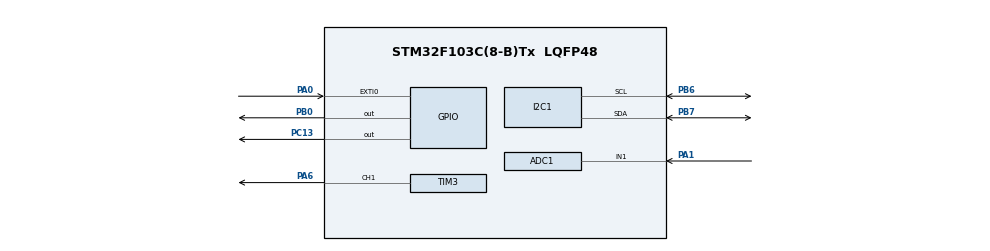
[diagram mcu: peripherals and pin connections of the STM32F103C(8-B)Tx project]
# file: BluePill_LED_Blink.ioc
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ADC1.Channel-0\#ChannelRegularConversion=ADC_CHANNEL_1
ADC1.NbrOfConversionFlag=1
ADC1.Rank-0\#ChannelRegularConversion=1
ADC1.SamplingTime-0\#ChannelRegularConversion=ADC_SAMPLETIME_55CYCLES_5
ADC1.master=1
Mcu.Family=STM32F1
Mcu.Name=STM32F103C(8-B)Tx
Mcu.Package=LQFP48
NVIC.EXTI0_IRQn=true\:0\:0\:false\:false\:true\:true\:true\:true
NVIC.PriorityGroup=NVIC_PRIORITYGROUP_4
PA0-WKUP.GPIO_PuPd=GPIO_PULLDOWN
PA0-WKUP.Signal=GPXTI0
PA1.Signal=ADCx_IN1
PA13.Mode=Serial_Wire
PA13.Signal=SYS_JTMS-SWDIO
PA14.Mode=Serial_Wire
PA14.Signal=SYS_JTCK-SWCLK
PA6.Signal=S_TIM3_CH1
PB0.Signal=GPIO_Output
PB6.Mode=I2C
PB6.Signal=I2C1_SCL
PB7.Mode=I2C
PB7.Signal=I2C1_SDA
PC13-TAMPER-RTC.PinState=GPIO_PIN_SET
PC13-TAMPER-RTC.Signal=GPIO_Output
ProjectManager.HeapSize=0x200
ProjectManager.StackSize=0x400
ProjectManager.TargetToolchain=STM32CubeIDE
RCC.APB1Freq_Value=8000000
RCC.APB2Freq_Value=8000000
SH.ADCx_IN1.0=ADC1_IN1,IN1
SH.S_TIM3_CH1.0=TIM3_CH1,PWM Generation1 CH1
TIM3.Channel-PWM\ Generation1\ CH1=TIM_CHANNEL_1
TIM3.Period=999
TIM3.Prescaler=7
board=custom

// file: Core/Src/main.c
/* USER CODE BEGIN Header */
/**
  ******************************************************************************
  * @file           : main.c
  * @brief          : Main program body
  ******************************************************************************
  * @attention
  *
  * Copyright (c) 2026 STMicroelectronics.
  * All rights reserved.
  *
  * This software is licensed under terms that can be found in the LICENSE file
  * in the root directory of this software component.
  * If no LICENSE file comes with this software, it is provided AS-IS.
  *
  ******************************************************************************
  */
/* USER CODE END Header */
#include "main.h"
#include <stdio.h>

#define OLED_ADDR (0x3C << 1)
#define OLED_CONTROL_CMD 0x00

ADC_HandleTypeDef hadc1;

I2C_HandleTypeDef hi2c1;

TIM_HandleTypeDef htim3;

/* USER CODE BEGIN PV */

uint16_t dig_T1 = 0;
int16_t dig_T2 = 0;
int16_t dig_T3 = 0;

/* USER CODE END PV */

void SystemClock_Config(void);
static void MX_GPIO_Init(void);
static void MX_ADC1_Init(void);
static void MX_TIM3_Init(void);
static void MX_I2C1_Init(void);

/* USER CODE BEGIN PFP */

void OLED_SendCommand(uint8_t command);
void OLED_SendData(uint8_t dataByte);
void OLED_Init(void);
void OLED_Clear(void);
void OLED_DrawChar(const uint8_t *character);
void OLED_DrawCharacter(char character);
void OLED_DrawText(const char *text);
void BMP280_Init(void);

int32_t BMP280_ReadTemperature(void);

uint8_t letter_H[5] =
{
    0xFF,
    0x08,
    0x08,
    0x08,
    0xFF
};

uint8_t letter_E[5] =
{
    0xFF,
    0x89,
    0x89,
    0x89,
    0x89
};

uint8_t letter_L[5] =
{
    0xFF,
    0x80,
	  0x80,
	  0x80,
	  0x80
};
uint8_t letter_O[5] =
{
    0x7E,
    0x81,
	  0x81,
	  0x81,
	  0x7E
};
uint8_t letter_[5] =
{
    0x00,
    0x00,
	  0x00,
	  0x00,
	  0x00
};
uint8_t letter_W[5] =
{
    0xFF,
    0x60,
	  0x10,
	  0x60,
	  0xFF
};
uint8_t letter_R[5] =
{
    0xFF,
    0x09,
	  0x09,
	  0x19,
	  0xE6
};
uint8_t letter_D[5] =
{
    0xFF,
    0x81,
	  0x81,
	  0x42,
	  0x3C
};
uint8_t letter_I[5] =
{
    0x00, 0x41, 0x7F, 0x41, 0x00
};

uint8_t letter_V[5] =
{
    0x1F, 0x20, 0x40, 0x20, 0x1F
};

uint8_t letter_T[5] =
{
    0x01, 0x01, 0x7F, 0x01, 0x01
};

uint8_t letter_M[5] =
{
    0x7F, 0x02, 0x0C, 0x02, 0x7F
};

uint8_t letter_P[5] =
{
    0x7F, 0x09, 0x09, 0x09, 0x06
};

uint8_t letter_A[5] =
{
    0x7E, 0x11, 0x11, 0x11, 0x7E
};

uint8_t letter_U[5] =
{
    0x3F, 0x40, 0x40, 0x40, 0x3F
};

const uint8_t font_numbers[10][5] =
{
    {0x3E, 0x51, 0x49, 0x45, 0x3E}, // 0
    {0x00, 0x42, 0x7F, 0x40, 0x00}, // 1
    {0x42, 0x61, 0x51, 0x49, 0x46}, // 2
    {0x21, 0x41, 0x45, 0x4B, 0x31}, // 3
    {0x18, 0x14, 0x12, 0x7F, 0x10}, // 4
    {0x27, 0x45, 0x45, 0x45, 0x39}, // 5
    {0x3C, 0x4A, 0x49, 0x49, 0x30}, // 6
    {0x01, 0x71, 0x09, 0x05, 0x03}, // 7
    {0x36, 0x49, 0x49, 0x49, 0x36}, // 8
    {0x06, 0x49, 0x49, 0x29, 0x1E}  // 9
};

const uint8_t char_dot[5] =
{
    0x00, 0x60, 0x60, 0x00, 0x00
};

const uint8_t char_minus[5] =
{
    0x08, 0x08, 0x08, 0x08, 0x08
};

const uint8_t char_C[5] =
{
    0x3E, 0x41, 0x41, 0x41, 0x22
};

const uint8_t char_space[5] =
{
    0x00, 0x00, 0x00, 0x00, 0x00
};

/* USER CODE END PFP */

int main(void)
{

  /* USER CODE BEGIN 1 */

//	uint8_t calib_data[6];

	int32_t temperature = 0;
	char temp_text[16];

  /* USER CODE END 1 */

  /* MCU Configuration--------------------------------------------------------*/

  /* Reset of all peripherals, Initializes the Flash interface and the Systick. */
  HAL_Init();

  /* Configure the system clock */
  SystemClock_Config();

  /* Initialize all configured peripherals */
  MX_GPIO_Init();
  MX_ADC1_Init();
  MX_TIM3_Init();
  MX_I2C1_Init();

  /* USER CODE BEGIN 2 */

  /* Page 0 */

  OLED_Init();

  OLED_Clear();

  BMP280_Init();

  OLED_SendCommand(0xB0);
  OLED_SendCommand(0x00);
  OLED_SendCommand(0x10);

  OLED_DrawText("LIVE TEMPERATURE.");

  /* USER CODE END 2 */

  /* Infinite loop */

	  while (1) {

			 		 temperature = BMP280_ReadTemperature();

			 		  snprintf(temp_text,
			 		           sizeof(temp_text),
			 		           "%ld.%02ld C",
			 		           (long)(temperature / 100),
			 		           (long)(temperature % 100));

			 		  OLED_SendCommand(0xB2);
			 		  OLED_SendCommand(0x00);
			 		  OLED_SendCommand(0x10);

			 		  OLED_DrawText(temp_text);

		  HAL_Delay(500);

	  }
}

void OLED_SendCommand(uint8_t command)
{
    uint8_t data[2];

    data[0] = OLED_CONTROL_CMD;
    data[1] = command;

    HAL_I2C_Master_Transmit(&hi2c1, OLED_ADDR, data, 2, HAL_MAX_DELAY);
}

void OLED_SendData(uint8_t dataByte)
{
    uint8_t data[2];

    data[0] = 0x40;
    data[1] = dataByte;

    HAL_I2C_Master_Transmit(&hi2c1, OLED_ADDR, data, 2, HAL_MAX_DELAY);
}

void OLED_Clear(void)
{
    for (uint8_t page = 0; page < 8; page++)
    {
        OLED_SendCommand(0xB0 + page);
        OLED_SendCommand(0x00);
        OLED_SendCommand(0x10);

        for (uint8_t column = 0; column < 128; column++)
        {
            OLED_SendData(0x00);
        }
    }
}

void OLED_DrawChar(const uint8_t *character)
{
    for (uint8_t column = 0; column < 5; column++)
    {
        OLED_SendData(character[column]);
    }

    OLED_SendData(0x00);
}

void OLED_DrawCharacter(char character)
{
    if (character == 'H')
    {
        OLED_DrawChar(letter_H);
    }

    if (character == 'E')
    {
        OLED_DrawChar(letter_E);
    }
    if (character == 'L')
	{
		OLED_DrawChar(letter_L);
	}
    if (character == 'O')
	{
		OLED_DrawChar(letter_O);
	}
    if (character == 'W')
	{
		OLED_DrawChar(letter_W);
	}
    if (character == 'R')
	{
		OLED_DrawChar(letter_R);
	}
    if (character == 'D')
	{
		OLED_DrawChar(letter_D);
	}
    if (character == 'C')
    	{
    		OLED_DrawChar(char_C);
    	}
    if (character == ' ')
    	{
    		OLED_DrawChar(letter_);
    	}
    if(character == '.'){
        	 OLED_DrawChar(char_dot);
        }
    if(character == '-'){
            	 OLED_DrawChar(char_minus);
            }
    if(character == '1'){
    	 OLED_DrawChar(font_numbers[1]);
    }
    if(character == '2'){
        	 OLED_DrawChar(font_numbers[2]);
        }
    if(character == '3'){
        	 OLED_DrawChar(font_numbers[3]);
        }
	if(character == '4'){
			 OLED_DrawChar(font_numbers[4]);
		}
	if(character == '5'){
	    	 OLED_DrawChar(font_numbers[5]);
	    }
	if(character == '6'){
			 OLED_DrawChar(font_numbers[6]);
		}
	if(character == '7'){
			 OLED_DrawChar(font_numbers[7]);
		}
	if(character == '8'){
			 OLED_DrawChar(font_numbers[8]);
		}
	if(character == '9'){
			 OLED_DrawChar(font_numbers[9]);
		}
	if(character == '0'){
			 OLED_DrawChar(font_numbers[0]);
		}
	if (character == 'I')
	{
	    OLED_DrawChar(letter_I);
	}

	if (character == 'V')
	{
	    OLED_DrawChar(letter_V);
	}

	if (character == 'T')
	{
	    OLED_DrawChar(letter_T);
	}

	if (character == 'M')
	{
	    OLED_DrawChar(letter_M);
	}

	if (character == 'P')
	{
	    OLED_DrawChar(letter_P);
	}

	if (character == 'A')
	{
	    OLED_DrawChar(letter_A);
	}

	if (character == 'U')
	{
	    OLED_DrawChar(letter_U);
	}

}

void OLED_DrawText(const char *text)
{
    while (*text != '\0')
    {
        OLED_DrawCharacter(*text);

        text++;
    }
}

void OLED_Init(void)
{
    OLED_SendCommand(0xAE);
    OLED_SendCommand(0xD5);
    OLED_SendCommand(0x80);
    OLED_SendCommand(0xA8);
    OLED_SendCommand(0x3F);
    OLED_SendCommand(0xD3);
    OLED_SendCommand(0x00);
    OLED_SendCommand(0x40);
    OLED_SendCommand(0x8D);
    OLED_SendCommand(0x14);
    OLED_SendCommand(0x20);
    OLED_SendCommand(0x00);
    OLED_SendCommand(0xA1);
    OLED_SendCommand(0xC8);
    OLED_SendCommand(0xDA);
    OLED_SendCommand(0x12);
    OLED_SendCommand(0x81);
    OLED_SendCommand(0x7F);
    OLED_SendCommand(0xD9);
    OLED_SendCommand(0xF1);
    OLED_SendCommand(0xDB);
    OLED_SendCommand(0x40);
    OLED_SendCommand(0xA4);
    OLED_SendCommand(0xA6);
    OLED_SendCommand(0xAF);
}

void SystemClock_Config(void)
{
  RCC_OscInitTypeDef RCC_OscInitStruct = {0};
  RCC_ClkInitTypeDef RCC_ClkInitStruct = {0};
  RCC_PeriphCLKInitTypeDef PeriphClkInit = {0};

  /** Initializes the RCC Oscillators according to the specified parameters
  * in the RCC_OscInitTypeDef structure.
  */
  RCC_OscInitStruct.OscillatorType = RCC_OSCILLATORTYPE_HSI;
  RCC_OscInitStruct.HSIState = RCC_HSI_ON;
  RCC_OscInitStruct.HSICalibrationValue = RCC_HSICALIBRATION_DEFAULT;
  RCC_OscInitStruct.PLL.PLLState = RCC_PLL_NONE;
  if (HAL_RCC_OscConfig(&RCC_OscInitStruct) != HAL_OK)
  {
    Error_Handler();
  }

  /** Initializes the CPU, AHB and APB buses clocks
  */
  RCC_ClkInitStruct.ClockType = RCC_CLOCKTYPE_HCLK|RCC_CLOCKTYPE_SYSCLK
                              |RCC_CLOCKTYPE_PCLK1|RCC_CLOCKTYPE_PCLK2;
  RCC_ClkInitStruct.SYSCLKSource = RCC_SYSCLKSOURCE_HSI;
  RCC_ClkInitStruct.AHBCLKDivider = RCC_SYSCLK_DIV1;
  RCC_ClkInitStruct.APB1CLKDivider = RCC_HCLK_DIV1;
  RCC_ClkInitStruct.APB2CLKDivider = RCC_HCLK_DIV1;

  if (HAL_RCC_ClockConfig(&RCC_ClkInitStruct, FLASH_LATENCY_0) != HAL_OK)
  {
    Error_Handler();
  }
  PeriphClkInit.PeriphClockSelection = RCC_PERIPHCLK_ADC;
  PeriphClkInit.AdcClockSelection = RCC_ADCPCLK2_DIV2;
  if (HAL_RCCEx_PeriphCLKConfig(&PeriphClkInit) != HAL_OK)
  {
    Error_Handler();
  }
}

static void MX_ADC1_Init(void)
{

  ADC_ChannelConfTypeDef sConfig = {0};

  /** Common config
  */
  hadc1.Instance = ADC1;
  hadc1.Init.ScanConvMode = ADC_SCAN_DISABLE;
  hadc1.Init.ContinuousConvMode = DISABLE;
  hadc1.Init.DiscontinuousConvMode = DISABLE;
  hadc1.Init.ExternalTrigConv = ADC_SOFTWARE_START;
  hadc1.Init.DataAlign = ADC_DATAALIGN_RIGHT;
  hadc1.Init.NbrOfConversion = 1;
  if (HAL_ADC_Init(&hadc1) != HAL_OK)
  {
    Error_Handler();
  }

  /** Configure Regular Channel
  */
  sConfig.Channel = ADC_CHANNEL_1;
  sConfig.Rank = ADC_REGULAR_RANK_1;
  sConfig.SamplingTime = ADC_SAMPLETIME_55CYCLES_5;
  if (HAL_ADC_ConfigChannel(&hadc1, &sConfig) != HAL_OK)
  {
    Error_Handler();
  }

}

static void MX_I2C1_Init(void)
{

  hi2c1.Instance = I2C1;
  hi2c1.Init.ClockSpeed = 100000;
  hi2c1.Init.DutyCycle = I2C_DUTYCYCLE_2;
  hi2c1.Init.OwnAddress1 = 0;
  hi2c1.Init.AddressingMode = I2C_ADDRESSINGMODE_7BIT;
  hi2c1.Init.DualAddressMode = I2C_DUALADDRESS_DISABLE;
  hi2c1.Init.OwnAddress2 = 0;
  hi2c1.Init.GeneralCallMode = I2C_GENERALCALL_DISABLE;
  hi2c1.Init.NoStretchMode = I2C_NOSTRETCH_DISABLE;
  if (HAL_I2C_Init(&hi2c1) != HAL_OK)
  {
    Error_Handler();
  }

}

static void MX_TIM3_Init(void)
{

  TIM_MasterConfigTypeDef sMasterConfig = {0};
  TIM_OC_InitTypeDef sConfigOC = {0};

  htim3.Instance = TIM3;
  htim3.Init.Prescaler = 7;
  htim3.Init.CounterMode = TIM_COUNTERMODE_UP;
  htim3.Init.Period = 999;
  htim3.Init.ClockDivision = TIM_CLOCKDIVISION_DIV1;
  htim3.Init.AutoReloadPreload = TIM_AUTORELOAD_PRELOAD_DISABLE;
  if (HAL_TIM_PWM_Init(&htim3) != HAL_OK)
  {
    Error_Handler();
  }
  sMasterConfig.MasterOutputTrigger = TIM_TRGO_RESET;
  sMasterConfig.MasterSlaveMode = TIM_MASTERSLAVEMODE_DISABLE;
  if (HAL_TIMEx_MasterConfigSynchronization(&htim3, &sMasterConfig) != HAL_OK)
  {
    Error_Handler();
  }
  sConfigOC.OCMode = TIM_OCMODE_PWM1;
  sConfigOC.Pulse = 0;
  sConfigOC.OCPolarity = TIM_OCPOLARITY_HIGH;
  sConfigOC.OCFastMode = TIM_OCFAST_DISABLE;
  if (HAL_TIM_PWM_ConfigChannel(&htim3, &sConfigOC, TIM_CHANNEL_1) != HAL_OK)
  {
    Error_Handler();
  }
  HAL_TIM_MspPostInit(&htim3);

}

static void MX_GPIO_Init(void)
{
  GPIO_InitTypeDef GPIO_InitStruct = {0};

  /* GPIO Ports Clock Enable */
  __HAL_RCC_GPIOC_CLK_ENABLE();
  __HAL_RCC_GPIOA_CLK_ENABLE();
  __HAL_RCC_GPIOB_CLK_ENABLE();

  /*Configure GPIO pin Output Level */
  HAL_GPIO_WritePin(GPIOC, GPIO_PIN_13, GPIO_PIN_SET);

  /*Configure GPIO pin Output Level */
  HAL_GPIO_WritePin(GPIOB, GPIO_PIN_0, GPIO_PIN_RESET);

  /*Configure GPIO pin : PC13 */
  GPIO_InitStruct.Pin = GPIO_PIN_13;
  GPIO_InitStruct.Mode = GPIO_MODE_OUTPUT_PP;
  GPIO_InitStruct.Pull = GPIO_NOPULL;
  GPIO_InitStruct.Speed = GPIO_SPEED_FREQ_LOW;
  HAL_GPIO_Init(GPIOC, &GPIO_InitStruct);

  /*Configure GPIO pin : PA0 */
  GPIO_InitStruct.Pin = GPIO_PIN_0;
  GPIO_InitStruct.Mode = GPIO_MODE_IT_RISING;
  GPIO_InitStruct.Pull = GPIO_PULLDOWN;
  HAL_GPIO_Init(GPIOA, &GPIO_InitStruct);

  /*Configure GPIO pin : PB0 */
  GPIO_InitStruct.Pin = GPIO_PIN_0;
  GPIO_InitStruct.Mode = GPIO_MODE_OUTPUT_PP;
  GPIO_InitStruct.Pull = GPIO_NOPULL;
  GPIO_InitStruct.Speed = GPIO_SPEED_FREQ_LOW;
  HAL_GPIO_Init(GPIOB, &GPIO_InitStruct);

  /* EXTI interrupt init*/
  HAL_NVIC_SetPriority(EXTI0_IRQn, 0, 0);
  HAL_NVIC_EnableIRQ(EXTI0_IRQn);

}

/* USER CODE BEGIN 4 */

void BMP280_Init(void)
{
    uint8_t ctrl_meas = 0x27;

    uint8_t calib_pair_a[2] = {0};
    uint8_t calib_pair_b[2] = {0};
    uint8_t calib_pair_c[2] = {0};

    HAL_I2C_Mem_Write(&hi2c1,
                      0x76 << 1,
                      0xF4,
                      I2C_MEMADD_SIZE_8BIT,
                      &ctrl_meas,
                      1,
                      100);

    HAL_I2C_Mem_Read(&hi2c1,
                     0x76 << 1,
                     0x88,
                     I2C_MEMADD_SIZE_8BIT,
                     calib_pair_a,
                     2,
                     100);

    HAL_I2C_Mem_Read(&hi2c1,
                     0x76 << 1,
                     0x8A,
                     I2C_MEMADD_SIZE_8BIT,
                     calib_pair_b,
                     2,
                     100);

    HAL_I2C_Mem_Read(&hi2c1,
                     0x76 << 1,
                     0x8C,
                     I2C_MEMADD_SIZE_8BIT,
                     calib_pair_c,
                     2,
                     100);

    dig_T1 =
        ((uint16_t)calib_pair_a[1] << 8) |
        calib_pair_a[0];

    dig_T2 =
        (int16_t)(((uint16_t)calib_pair_b[1] << 8) |
                  calib_pair_b[0]);

    dig_T3 =
        (int16_t)(((uint16_t)calib_pair_c[1] << 8) |
                  calib_pair_c[0]);
}

int32_t BMP280_ReadTemperature(void){

    uint8_t temp_data[3] = {0};

    uint32_t raw_temperature = 0;

    int32_t adc_T = 0;
    int32_t var1 = 0;
    int32_t var2 = 0;
    int32_t t_fine = 0;
    int32_t temperature = 0;

    HAL_StatusTypeDef result = HAL_ERROR;

	 result = HAL_I2C_Mem_Read(&hi2c1,
			                            0x76 << 1,
			                            0xFA,
			                            I2C_MEMADD_SIZE_8BIT,
			                            temp_data,
			                            3,
			                            100);

			  if (result == HAL_OK){

				  raw_temperature =
				 		      ((uint32_t)temp_data[0] << 12) |
				 		      ((uint32_t)temp_data[1] << 4) |
				 		      ((uint32_t)temp_data[2] >> 4);

				 		  adc_T = (int32_t)raw_temperature;

				 		  var1 = (((adc_T >> 3) - ((int32_t)dig_T1 << 1))
				 		          * ((int32_t)dig_T2)) >> 11;

				 		  var2 = (((((adc_T >> 4) - ((int32_t)dig_T1))
				 		            * ((adc_T >> 4) - ((int32_t)dig_T1))) >> 12)
				 		          * ((int32_t)dig_T3)) >> 14;

				 		  t_fine = var1 + var2;

				 		  temperature = (t_fine * 5 + 128) >> 8;

				 		  return temperature;
			  }

			  return 0;

}

/* USER CODE END 4 */

void Error_Handler(void)
{
  __disable_irq();
  while (1)
  {
  }
}
